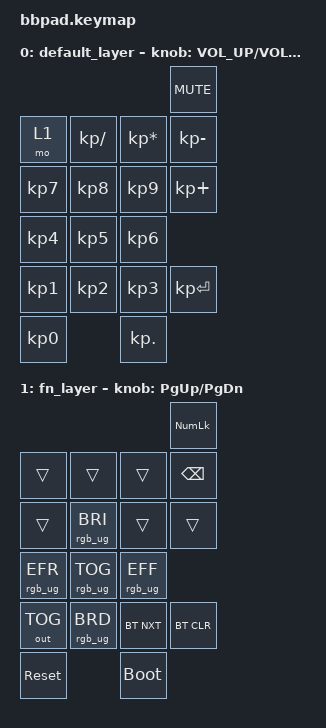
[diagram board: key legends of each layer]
/*
 * Copyright (c) 2023 The ZMK Contributors
 *
 * SPDX-License-Identifier: MIT
 */

#include <behaviors.dtsi>
#include <dt-bindings/zmk/keys.h>
#include <dt-bindings/zmk/bt.h>
#include <dt-bindings/zmk/rgb.h>
#include <dt-bindings/zmk/outputs.h>

// Remove this and the sensors node if you didn't build with an encoder.
&encoder {
    status = "okay";
};

/ {
    chosen {
        zmk,matrix_transform = &numpad_transform;
    };

    keymap {
        compatible = "zmk,keymap";

        default_layer {
            bindings = <
                                                               &kp C_MUTE
                &mo 1        &kp KP_DIVIDE   &kp KP_MULTIPLY   &kp KP_MINUS
                &kp KP_N7    &kp KP_N8       &kp KP_N9         &kp KP_PLUS
                &kp KP_N4    &kp KP_N5       &kp KP_N6
                &kp KP_N1    &kp KP_N2       &kp KP_N3         &kp KP_ENTER
                &kp KP_N0                    &kp KP_DOT
            >;
            sensor-bindings = <&inc_dec_kp C_VOL_UP C_VOL_DN>;
        };

        fn_layer {
            bindings = <
                                                                   &kp KP_NUM
                &trans           &trans           &trans           &kp BSPC
                &trans           &rgb_ug RGB_BRI  &trans           &trans
                &rgb_ug RGB_EFR  &rgb_ug RGB_TOG  &rgb_ug RGB_EFF
                &out OUT_TOG     &rgb_ug RGB_BRD  &bt BT_NXT       &bt BT_CLR
                &sys_reset                        &bootloader
            >;
            sensor-bindings = <&inc_dec_kp PG_UP PG_DN>;
        };

    };
};
